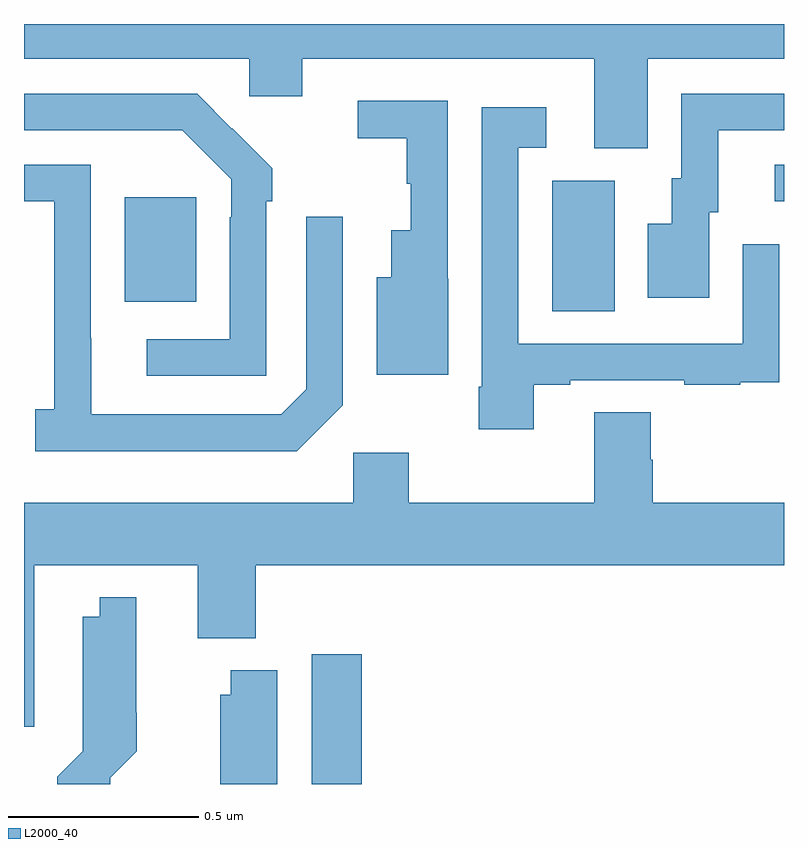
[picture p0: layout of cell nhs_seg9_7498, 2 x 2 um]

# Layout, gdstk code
import gdstk
lib = gdstk.Library(unit=1e-6, precision=1e-09)
def R(c, l, rs):  # rectangles x0, y0, x1, y1
    for r in rs: c.add(gdstk.rectangle(r[:2], r[2:], *l))
def P(c, l, *ps):  # polygons
    for p in ps: c.add(gdstk.Polygon(p, *l))
L2000_40 = (2000, 40)

nhs_seg9_7498 = lib.new_cell('nhs_seg9_7498')
R(nhs_seg9_7498, L2000_40, [(205.757,1206.5,205.889,1206.841), (206.39,1207.744,206.554,1208.088), (205.265,1207.769,205.453,1208.044), (206.976,1208.034,207,1208.13)])
P(nhs_seg9_7498, L2000_40, [(205,1208.408),(205.593,1208.408),(205.593,1208.31),(205.732,1208.31),(205.732,1208.408),(206.501,1208.408),(206.501,1208.173),(206.641,1208.173),(206.641,1208.408),(207,1208.408),(207,1208.5),(205,1208.5)],
  [(205.638,1208.033),(205.653,1208.033),(205.653,1208.121),(205.548,1208.226),(205.547,1208.225),(205.456,1208.316),(205,1208.316),(205,1208.22),(205.417,1208.22),(205.545,1208.091),(205.545,1207.991),(205.542,1207.991),(205.542,1207.671),(205.323,1207.671),(205.323,1207.575),(205.638,1207.575)],
  [(206.803,1208.004),(206.827,1208.004),(206.827,1208.22),(207,1208.22),(207,1208.316),(206.73,1208.316),(206.73,1208.094),(206.705,1208.094),(206.705,1207.975),(206.642,1207.975),(206.642,1207.779),(206.803,1207.779)],
  [(206.116,1207.83),(206.115,1207.83),(206.115,1208.298),(205.878,1208.298),(205.878,1208.2),(206.007,1208.2),(206.007,1208.079),(206.018,1208.079),(206.018,1207.957),(205.967,1207.957),(205.967,1207.834),(205.928,1207.834),(205.928,1207.577),(206.116,1207.577)],
  [(206.341,1207.551),(206.437,1207.551),(206.437,1207.563),(206.737,1207.563),(206.737,1207.551),(206.885,1207.551),(206.885,1207.557),(206.987,1207.557),(206.987,1207.666),(206.988,1207.666),(206.988,1207.921),(206.892,1207.921),(206.892,1207.659),(206.301,1207.659),(206.301,1208.175),(206.374,1208.175),(206.374,1208.281),(206.205,1208.281),(206.205,1207.546),(206.197,1207.546),(206.197,1207.434),(206.341,1207.434)],
  [(205.839,1207.497),(205.839,1207.993),(205.743,1207.993),(205.743,1207.539),(205.677,1207.473),(205.177,1207.473),(205.177,1207.673),(205.176,1207.673),(205.176,1208.13),(205,1208.13),(205,1208.034),(205.08,1208.034),(205.08,1207.486),(205.029,1207.486),(205.029,1207.376),(205.718,1207.376)],
  [(205.027,1207.076),(205.457,1207.076),(205.457,1206.884),(205.61,1206.884),(205.61,1207.076),(207,1207.076),(207,1207.24),(206.654,1207.24),(206.654,1207.353),(206.649,1207.353),(206.649,1207.478),(206.501,1207.478),(206.501,1207.24),(206.013,1207.24),(206.013,1207.372),(205.866,1207.372),(205.866,1207.24),(205,1207.24),(205,1206.651),(205.027,1206.651)],
  [(205.227,1206.516),(205.297,1206.586),(205.297,1206.688),(205.296,1206.688),(205.296,1206.991),(205.199,1206.991),(205.199,1206.94),(205.154,1206.94),(205.154,1206.586),(205.087,1206.519),(205.087,1206.5),(205.227,1206.5)],
  [(205.666,1206.799),(205.544,1206.799),(205.544,1206.735),(205.517,1206.735),(205.517,1206.5),(205.666,1206.5)])

lib.write_gds('nhs_seg9_7498.gds')
